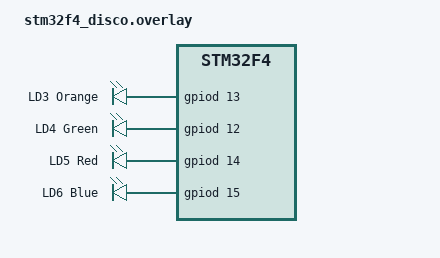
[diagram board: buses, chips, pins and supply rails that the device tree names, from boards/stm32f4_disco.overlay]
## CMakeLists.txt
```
cmake_minimum_required(VERSION 3.20.0)

find_package(Zephyr REQUIRED HINTS $ENV{ZEPHYR_BASE})
project(zbus_prac)

target_sources(app PRIVATE src/main.c)
```

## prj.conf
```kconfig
# Logging
CONFIG_LOG=y
CONFIG_LOG_DEFAULT_LEVEL=3
CONFIG_BOOT_BANNER=n

# Console over UART
CONFIG_SERIAL=y
CONFIG_CONSOLE=y
CONFIG_STDOUT_CONSOLE=y

# zbus core
CONFIG_ZBUS=y
CONFIG_ZBUS_LOG_LEVEL_INF=y
CONFIG_ZBUS_CHANNEL_NAME=y
CONFIG_ZBUS_OBSERVER_NAME=y
CONFIG_ZBUS_RUNTIME_OBSERVERS=y

# Peripherals we use
CONFIG_GPIO=y
CONFIG_SPI=y
CONFIG_I2C=y

# Threads / stacks
CONFIG_MAIN_STACK_SIZE=2048
CONFIG_SYSTEM_WORKQUEUE_STACK_SIZE=2048
```

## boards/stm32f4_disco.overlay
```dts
/ {
    leds {
        compatible = "gpio-leds";

        led0: led0_node {
            gpios = <&gpiod 13 GPIO_ACTIVE_HIGH>;
            label = "LD3 Orange";
        };

        led1: led1_node {
            gpios = <&gpiod 12 GPIO_ACTIVE_HIGH>;
            label = "LD4 Green";
        };

        led2: led2_node {
            gpios = <&gpiod 14 GPIO_ACTIVE_HIGH>;
            label = "LD5 Red";
        };

        led3: led3_node {
            gpios = <&gpiod 15 GPIO_ACTIVE_HIGH>;
            label = "LD6 Blue";
        };
    };

    aliases {
        led0 = &led0;
        led1 = &led1;
        led2 = &led2;
        led3 = &led3;
    };
};
```

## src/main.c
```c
/*
 * SPDX-License-Identifier: Apache-2.0
 *
 * STM32F4DISCOVERY + Zephyr + zbus + UART + GPIO + SPI + I2C demo
 */

#include <zephyr/kernel.h>
#include <zephyr/device.h>
#include <zephyr/devicetree.h>
#include <zephyr/logging/log.h>

#include <zephyr/drivers/gpio.h>
#include <zephyr/drivers/uart.h>
#include <zephyr/drivers/spi.h>
#include <zephyr/drivers/i2c.h>

#include <zephyr/zbus/zbus.h>

LOG_MODULE_REGISTER(app, LOG_LEVEL_INF);

/* ---------- GPIO: LED (from DT alias led0) ---------- */

#define LED0_NODE DT_ALIAS(led0)
#if !DT_NODE_HAS_STATUS(LED0_NODE, okay)
#error "Unsupported board: led0 alias is not defined in devicetree"
#endif

static const struct gpio_dt_spec led = GPIO_DT_SPEC_GET(LED0_NODE, gpios);

/* ---------- UART: use console UART ---------- */

#define UART_NODE DT_CHOSEN(zephyr_console)
static const struct device *uart_dev = DEVICE_DT_GET(UART_NODE);

/* ---------- SPI / I2C devices (by label) ---------- */
/*
 * NOTE:
 *  - On many STM32F4 boards, SPI_1 / I2C_1 labels exist in the DTS.
 *  - If your DTS uses different labels, just change the strings below.
 *  - Using device_get_binding() keeps this generic and build-safe.
 */

static const struct device *spi_dev;
static const struct device *i2c_dev;

/* Simple SPI config – adjust if required for your board */
static struct spi_config spi_cfg = {
    .frequency = 1000000U, /* 1 MHz */
    .operation = SPI_OP_MODE_MASTER |
                 SPI_WORD_SET(8) |
                 SPI_TRANSFER_MSB,
    .slave = 0,            /* CS index (only used on some controllers) */
    .cs = NULL,            /* No HW-controlled CS here */
};

/* ---------- zbus message & channel ---------- */

struct bus_status_msg {
    uint32_t counter;
    bool led_state;
    int uart_rc;
    int spi_rc;
    int i2c_rc;
};

ZBUS_SUBSCRIBER_DEFINE(bus_status_sub, 4);

ZBUS_CHAN_DEFINE(
    bus_status_chan,              /* Name */
    struct bus_status_msg,        /* Message type */
    NULL,                         /* Validator */
    NULL,                         /* User data */
    ZBUS_OBSERVERS(bus_status_sub), /* Observers list */
    ZBUS_MSG_INIT(                /* Initial value */
        .counter = 0,
        .led_state = false,
        .uart_rc = 0,
        .spi_rc = 0,
        .i2c_rc = 0
    )
);

/* ---------- Helper: UART print ---------- */

static void uart_print(const char *s)
{
    if (!device_is_ready(uart_dev)) {
        return;
    }

    while (*s) {
        uart_poll_out(uart_dev, (unsigned char)*s);
        s++;
    }
}

/* ---------- Producer thread: toggles LED + pings buses + publishes ---------- */

#define PRODUCER_STACK_SIZE 1024
#define PRODUCER_PRIORITY   5

static void bus_producer_thread(void *a, void *b, void *c)
{
    ARG_UNUSED(a);
    ARG_UNUSED(b);
    ARG_UNUSED(c);

    int rc;
    uint32_t counter = 0;
    bool led_state = false;

    LOG_INF("bus_producer_thread started");

    for (;;) {
        struct bus_status_msg msg = {0};

        msg.counter = counter++;

        /* GPIO: toggle LED */
        if (device_is_ready(led.port)) {
            rc = gpio_pin_toggle_dt(&led);
            if (rc == 0) {
                led_state = !led_state;
                msg.led_state = led_state;
            } else {
                LOG_WRN("gpio_pin_toggle_dt failed: %d", rc);
                msg.led_state = led_state;
            }
        } else {
            LOG_WRN("LED device not ready");
            msg.led_state = led_state;
        }

        /* UART: print heartbeat */
        if (device_is_ready(uart_dev)) {
            uart_print("zbus bus_producer heartbeat\r\n");
            msg.uart_rc = 0;
        } else {
            msg.uart_rc = -ENODEV;
        }

        /* SPI: do a dummy transceive if device present */
        msg.spi_rc = -ENODEV;
        if (spi_dev && device_is_ready(spi_dev)) {
            uint8_t tx_buf_data[2] = {0xAA, 0x55};
            uint8_t rx_buf_data[2] = {0};

            struct spi_buf tx_buf = {
                .buf = tx_buf_data,
                .len = sizeof(tx_buf_data),
            };
            struct spi_buf rx_buf = {
                .buf = rx_buf_data,
                .len = sizeof(rx_buf_data),
            };

            const struct spi_buf_set tx = {
                .buffers = &tx_buf,
                .count = 1,
            };
            const struct spi_buf_set rx = {
                .buffers = &rx_buf,
                .count = 1,
            };

            rc = spi_transceive(spi_dev, &spi_cfg, &tx, &rx);
            msg.spi_rc = rc;
            if (rc != 0) {
                LOG_WRN("SPI transceive failed: %d", rc);
            }
        }

        /* I2C: just check readiness (no actual target required) */
        msg.i2c_rc = -ENODEV;
        if (i2c_dev && device_is_ready(i2c_dev)) {
            /* If you have a real device, put i2c_read/i2c_write here */
            msg.i2c_rc = 0;
        }

        /* Publish to zbus */
        rc = zbus_chan_pub(&bus_status_chan, &msg, K_MSEC(100));
        if (rc != 0) {
            LOG_ERR("zbus_chan_pub failed: %d", rc);
        }

        k_sleep(K_SECONDS(1));
    }
}

K_THREAD_DEFINE(bus_producer_tid,
                PRODUCER_STACK_SIZE,
                bus_producer_thread,
                NULL, NULL, NULL,
                PRODUCER_PRIORITY, 0, 0);

/* ---------- Consumer thread: waits on subscriber & logs messages ---------- */

#define CONSUMER_STACK_SIZE 1024
#define CONSUMER_PRIORITY   6

static void bus_consumer_thread(void *sub_ptr, void *b, void *c)
{
    ARG_UNUSED(b);
    ARG_UNUSED(c);

    const struct zbus_observer *subscriber = sub_ptr;
    const struct zbus_channel *chan;
    struct bus_status_msg msg;
    int rc;

    LOG_INF("bus_consumer_thread started");

    for (;;) {
        rc = zbus_sub_wait(subscriber, &chan, K_FOREVER);
        if (rc != 0) {
            LOG_ERR("zbus_sub_wait failed: %d", rc);
            continue;
        }

        if (chan != &bus_status_chan) {
            LOG_WRN("Received notification from unexpected channel: %s",
                    zbus_chan_name(chan));
            continue;
        }

        rc = zbus_chan_read(chan, &msg, K_MSEC(100));
        if (rc != 0) {
            LOG_WRN("zbus_chan_read failed: %d", rc);
            continue;
        }

        LOG_INF("BusStatus: cnt=%u led=%d uart_rc=%d spi_rc=%d i2c_rc=%d",
                msg.counter,
                msg.led_state,
                msg.uart_rc,
                msg.spi_rc,
                msg.i2c_rc);
    }
}

K_THREAD_DEFINE(bus_consumer_tid,
                CONSUMER_STACK_SIZE,
                bus_consumer_thread,
                &bus_status_sub, NULL, NULL,
                CONSUMER_PRIORITY, 0, 0);

/* ---------- main() ---------- */

int main(void)
{
    int rc;

    LOG_INF("STM32F4DISCOVERY zbus + UART + GPIO + SPI + I2C demo starting");

    /* Init LED */
    if (!device_is_ready(led.port)) {
        LOG_ERR("LED device not ready");
    } else {
        rc = gpio_pin_configure_dt(&led, GPIO_OUTPUT_INACTIVE);
        if (rc != 0) {
            LOG_ERR("Failed to configure LED GPIO: %d", rc);
        }
    }

    /* Init UART (console) */
    if (!device_is_ready(uart_dev)) {
        LOG_ERR("Console UART device not ready");
    } else {
        uart_print("Console UART ready\r\n");
    }

    /* Bind SPI and I2C devices by label (adjust string if needed) */
    spi_dev = device_get_binding("SPI_1");
    if (!spi_dev) {
        LOG_WRN("SPI_1 device not found (update label if needed)");
    } else if (!device_is_ready(spi_dev)) {
        LOG_WRN("SPI_1 device not ready");
    } else {
        LOG_INF("SPI_1 device ready");
    }

    i2c_dev = device_get_binding("I2C_1");
    if (!i2c_dev) {
        LOG_WRN("I2C_1 device not found (update label if needed)");
    } else if (!device_is_ready(i2c_dev)) {
        LOG_WRN("I2C_1 device not ready");
    } else {
        LOG_INF("I2C_1 device ready");
    }

    LOG_INF("Main init done, threads will handle the rest");
    return 0;
}
```
